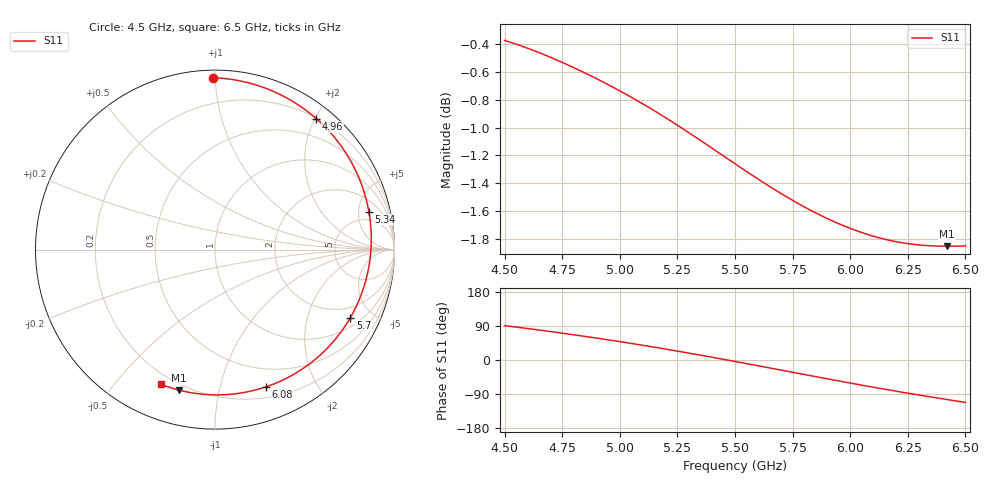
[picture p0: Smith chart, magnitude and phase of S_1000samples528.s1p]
! TOUCHSTONE file generated by CST MICROWAVE STUDIO
! Date and time: Fri Oct 28 11:36:36 2022
! Project name: L.cst
! Parameters = {Di=1.27; Epsilon_r=1.56; InnerDiameter=1.27; Length=2; Lf=10; Lg=60; OuterConductorThickness=0.2921; OuterDiameter=3.6; Wf=3; Wp=41.2; de=1.5; df=6.8; g=0.8; gx=3.98796; gy=2.73553; h=2.34; hf=1.524; px=10.6279; py=8.8089; w=9.7; wx=6.63994; wy=6.07337}
! Header version: 2018
! Port assignment regex: !\s*Touchstone port\s*([0-9]+)\s*=\s*(CST MWS port|CST DS port)\s*([0-9]+|Zmin|Zmax)\s*\(\"(.*)\"\)(\s*mode\s*([0-9]+))?.*
! Touchstone port assignment:
! Touchstone port 1 = CST MWS port 1 ("")
# GHz S DB R 50
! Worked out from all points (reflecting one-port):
!   101 points, 4.5 GHz to 6.5 GHz, reference 50 ohm
!   lowest |S11| = -1.8 dB at 6.42 GHz (marker M1), VSWR 9.43, Z = 8.44 - j38.1 ohm
!   phase of S11 starts at 91 deg and turns -203 deg over the sweep
!   S11 on the Smith chart (normalised r, x): 4.5 GHz: 0.04, +0.99; 4.96 GHz: 0.21, +2.02; 5.34 GHz: 3.38, +6.49; 5.7 GHz: 1.41, -3.71; 6.08 GHz: 0.30, -1.39; 6.5 GHz: 0.15, -0.67
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4.5  -0.38 90.7
4.58  -0.42 84.6
4.64  -0.46 79.8
4.76  -0.54 69.9
4.86  -0.62 61.3
4.96  -0.70 52.2
5  -0.74 48.5
5.06  -0.79 42.7
5.14  -0.87 34.8
5.2  -0.93 28.7
5.26  -0.99 22.4
5.34  -1.08 13.9
5.42  -1.17 5.1
5.5  -1.26 -3.8
5.54  -1.30 -8.4
5.6  -1.37 -15.2
5.7  -1.47 -26.7
5.76  -1.53 -33.6
5.82  -1.58 -40.5
5.88  -1.64 -47.3
5.94  -1.68 -54.1
6  -1.72 -60.8
6.08  -1.77 -69.6
6.16  -1.80 -78.2
6.26  -1.83 -88.6
6.34  -1.85 -96.6
6.42  -1.85 -104.3
6.5  -1.85 -111.9
